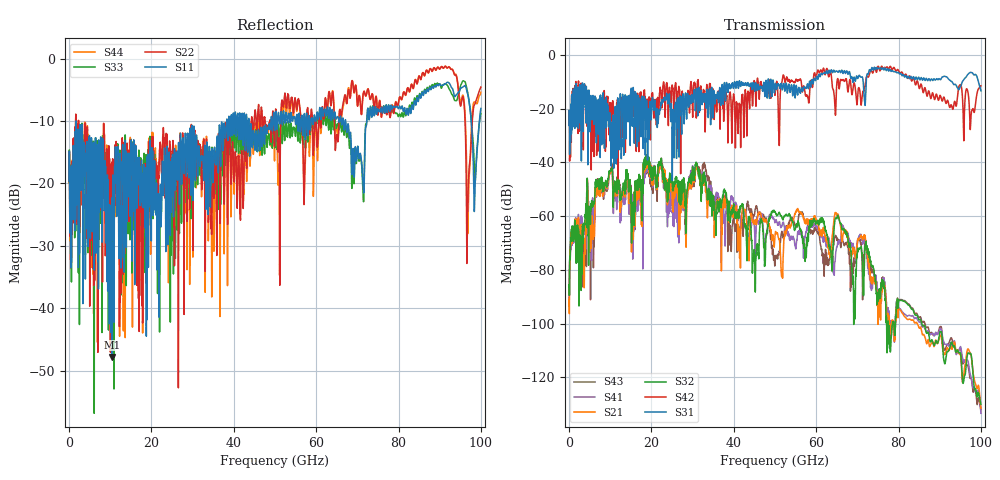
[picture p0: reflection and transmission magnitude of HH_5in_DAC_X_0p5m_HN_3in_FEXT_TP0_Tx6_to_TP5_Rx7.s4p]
# GHz S RI R 45
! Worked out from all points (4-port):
!   4000 points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, 25 MHz to 100 GHz, reference 45 ohm
!   strongest paths, dB at 25 MHz, 25.02 GHz, 50.02 GHz, 75.03 GHz, 100 GHz:
!     S31: -26.2, -24.6, -11.1, -5.2, -13.3
!     S42: -26.1, -11.5, -14.7, -4.3, -11.5
!     S32: -86.5, -47.2, -58.4, -90.0, -130.0
!     S21: -91.8, -53.7, -67.1, -100.3, -131.5
!     S41: -93.7, -56.7, -62.1, -89.0, -133.4
!     S43: -91.6, -48.9, -76.5, -90.1, -132.1
!   lowest |S11| = -47.8 dB at 10.38 GHz (marker M1), VSWR 1.01, Z = 45.2 + j0.287 ohm
!   |S11| at or under -10 dB: 1.701 GHz to 38.29 GHz (36.59 GHz wide, 183 % of centre); 43.69 GHz to 49.04 GHz (5.353 GHz wide, 11.5 % of centre); 67.17 GHz to 72.31 GHz (5.139 GHz wide, 7.37 % of centre)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
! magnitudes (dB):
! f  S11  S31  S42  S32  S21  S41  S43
! 25 MHz  -19.6  -26.2  -26.1  -86.5  -91.8  -93.7  -91.6
! 10.38 GHz  -47.8  -29.1  -29.3  -42.1  -43.0  -42.3  -40.9
! 31.07 GHz  -14.6  -13.3  -13.3  -40.8  -41.9  -41.2  -40.6
! 44.95 GHz  -12.5  -12.7  -9.6  -72.4  -63.0  -62.7  -59.6
! 49.62 GHz  -9.0  -10.1  -10.7  -57.8  -68.3  -60.7  -75.1
! 96.9 GHz  -6.0  -7.1  -14.2  -110.9  -109.4  -114.1  -115.8
! 100 GHz  -8.0  -13.3  -11.5  -130.0  -131.5  -133.4  -132.1
